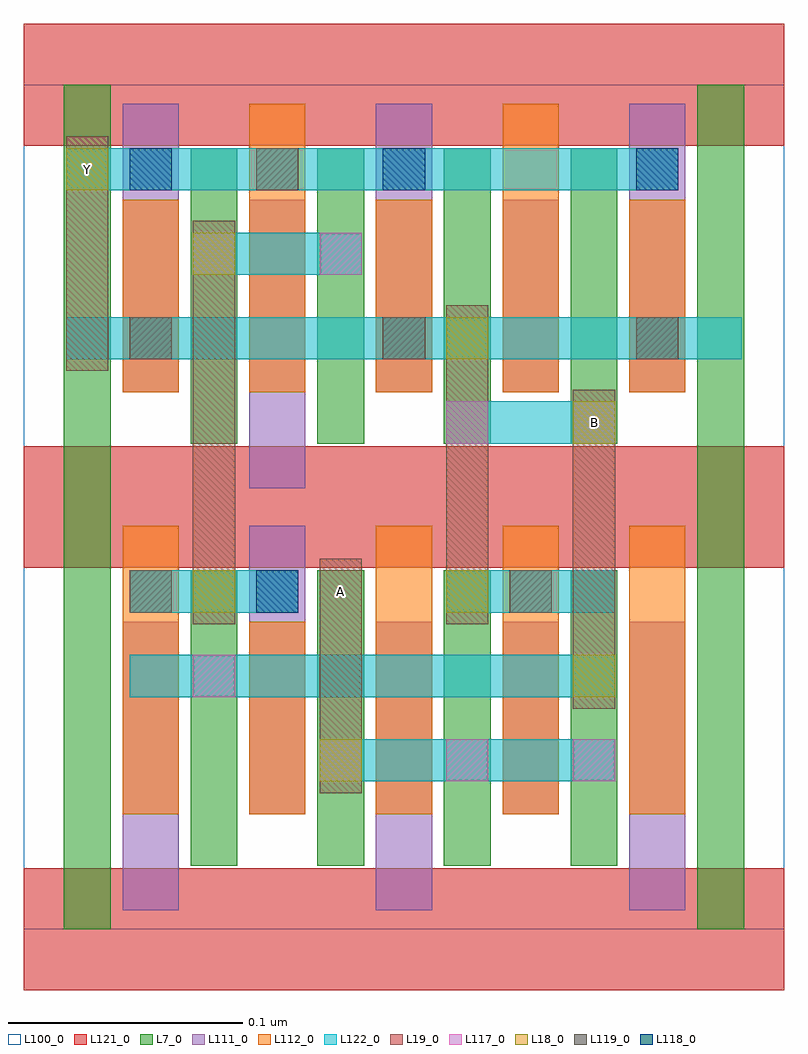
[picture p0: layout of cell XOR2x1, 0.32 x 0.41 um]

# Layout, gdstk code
import gdstk
lib = gdstk.Library(unit=1e-6, precision=2.5e-10)
def R(c, l, rs):  # rectangles x0, y0, x1, y1
    for r in rs: c.add(gdstk.rectangle(r[:2], r[2:], *l))
def A(c, l, x, y, w, h, nx, ny, dx, dy):  # array of equal rectangles
    R(c, l, [(x+i*dx, y+j*dy, x+i*dx+w, y+j*dy+h) for i in range(nx) for j in range(ny)])
L7_0 = (7, 0)
L18_0 = (18, 0)
L19_0 = (19, 0)
L100_0 = (100, 0)
L111_0 = (111, 0)
L112_0 = (112, 0)
L117_0 = (117, 0)
L118_0 = (118, 0)
L119_0 = (119, 0)
L121_0 = (121, 0)
L122_0 = (122, 0)

xor2x1 = lib.new_cell('XOR2x1')
A(xor2x1, L7_0, 0.071, 0.027, 0.02, 0.126, 4, 2, 0.054, 0.18)
R(xor2x1, L7_0, [(0.017,0,0.037,0.18), (0.287,0,0.307,0.18), (0.017,0.18,0.037,0.36), (0.287,0.18,0.307,0.36)])
R(xor2x1, L18_0, [(0.126,0.063,0.144,0.081), (0.234,0.099,0.252,0.117), (0.072,0.135,0.09,0.153), (0.18,0.135,0.198,0.153), (0.234,0.207,0.252,0.225), (0.18,0.243,0.198,0.261), (0.072,0.279,0.09,0.297), (0.018,0.315,0.036,0.333)])
R(xor2x1, L19_0, [(0.126,0.058,0.144,0.158), (0.234,0.094,0.252,0.23), (0.072,0.13,0.09,0.302), (0.18,0.13,0.198,0.266), (0.018,0.238,0.036,0.338)])
R(xor2x1, L100_0, [(0,0,0.324,0.36)])
A(xor2x1, L111_0, 0.042, 0.008, 0.024, 0.123, 3, 2, 0.108, 0.221)
R(xor2x1, L111_0, [(0.096,0.049,0.12,0.172), (0.204,0.049,0.228,0.131), (0.096,0.188,0.12,0.311), (0.204,0.229,0.228,0.311)])
A(xor2x1, L112_0, 0.15, 0.049, 0.024, 0.123, 3, 1, 0.054, 0)
A(xor2x1, L112_0, 0.042, 0.229, 0.024, 0.082, 3, 1, 0.108, 0)
R(xor2x1, L112_0, [(0.042,0.049,0.066,0.172), (0.096,0.049,0.12,0.131), (0.096,0.229,0.12,0.352), (0.204,0.229,0.228,0.352)])
A(xor2x1, L117_0, 0.126, 0.063, 0.018, 0.018, 3, 1, 0.054, 0)
R(xor2x1, L117_0, [(0.072,0.099,0.09,0.117), (0.18,0.207,0.198,0.225), (0.234,0.207,0.252,0.225), (0.072,0.279,0.09,0.297), (0.126,0.279,0.144,0.297)])
A(xor2x1, L118_0, 0.045, 0.315, 0.018, 0.018, 3, 1, 0.108, 0)
R(xor2x1, L118_0, [(0.099,0.135,0.117,0.153)])
A(xor2x1, L119_0, 0.045, 0.243, 0.018, 0.018, 3, 1, 0.108, 0)
R(xor2x1, L119_0, [(0.045,0.135,0.063,0.153), (0.207,0.135,0.225,0.153), (0.099,0.315,0.117,0.333)])
A(xor2x1, L121_0, 0, -0.026, 0.324, 0.052, 1, 3, 0, 0.18)
R(xor2x1, L122_0, [(0.126,0.063,0.252,0.081), (0.045,0.099,0.252,0.117), (0.045,0.135,0.117,0.153), (0.18,0.135,0.252,0.153), (0.18,0.207,0.252,0.225), (0.018,0.243,0.306,0.261), (0.072,0.279,0.144,0.297), (0.018,0.315,0.279,0.333)])
xor2x1.add(gdstk.Label('Y', (0.027,0.324), layer=19, texttype=251))
xor2x1.add(gdstk.Label('B', (0.243,0.216), layer=19, texttype=251))
xor2x1.add(gdstk.Label('A', (0.135,0.144), layer=19, texttype=251))

lib.write_gds('XOR2x1.gds')
